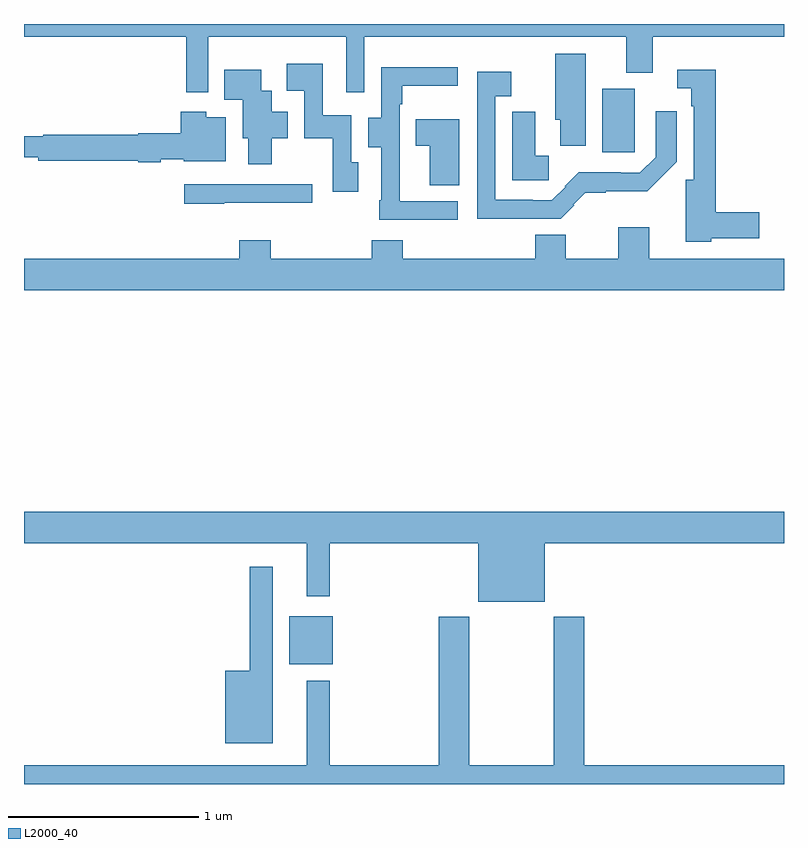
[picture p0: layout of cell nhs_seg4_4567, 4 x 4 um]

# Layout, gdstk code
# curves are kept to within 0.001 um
import gdstk
lib = gdstk.Library(unit=1e-6, precision=1e-09)
def R(c, l, rs):  # rectangles x0, y0, x1, y1
    for r in rs: c.add(gdstk.rectangle(r[:2], r[2:], *l))
def P(c, l, *ps):  # polygons
    for p in ps: c.add(gdstk.Polygon(p, *l))
L2000_40 = (2000, 40)

nhs_seg4_4567 = lib.new_cell('nhs_seg4_4567')
R(nhs_seg4_4567, L2000_40, [(358.397,781.529,358.624,781.783), (360.044,784.224,360.214,784.558)])
P(nhs_seg4_4567, L2000_40, [(357.969,784.832),(358.695,784.832),(358.695,784.542),(358.791,784.542),(358.791,784.832),(360.17,784.832),(360.17,784.643),(360.31,784.643),(360.31,784.832),(361,784.832),(361,784.9),(357,784.9),(357,784.832),(357.853,784.832),(357.853,784.542),(357.969,784.542)],
  [(359.956,784.744),(359.795,784.744),(359.795,784.395),(359.822,784.395),(359.822,784.26),(359.956,784.26)],
  [(358.759,784.173),(358.722,784.173),(358.722,784.42),(358.572,784.42),(358.572,784.69),(358.384,784.69),(358.384,784.55),(358.476,784.55),(358.476,784.298),(358.624,784.298),(358.624,784.017),(358.759,784.017)],
  [(359.284,783.966),(358.978,783.966),(358.978,784.163),(358.977,784.163),(358.977,784.478),(358.99,784.478),(358.99,784.574),(359.284,784.574),(359.284,784.672),(358.881,784.672),(358.881,784.407),(358.811,784.407),(358.811,784.252),(358.881,784.252),(358.881,783.973),(358.869,783.973),(358.869,783.87),(359.284,783.87)],
  [(360.618,783.773),(360.871,783.773),(360.871,783.908),(360.641,783.908),(360.641,784.66),(360.438,784.66),(360.438,784.563),(360.513,784.563),(360.513,784.466),(360.525,784.466),(360.525,784.08),(360.482,784.08),(360.482,783.755),(360.618,783.755)],
  [(358.303,784.298),(358.387,784.298),(358.387,784.438),(358.303,784.438),(358.303,784.549),(358.248,784.549),(358.248,784.66),(358.054,784.66),(358.054,784.502),(358.151,784.502),(358.151,784.298),(358.181,784.298),(358.181,784.161),(358.303,784.161)],
  [(359.895,783.945),(359.891,783.949),(359.953,784.011),(360.061,784.011),(360.061,784.019),(360.281,784.019),(360.436,784.176),(360.436,784.441),(360.324,784.441),(360.324,784.2),(360.24,784.116),(360.14,784.116),(360.14,784.121),(359.921,784.121),(359.847,784.047),(359.85,784.044),(359.778,783.972),(359.678,783.972),(359.678,783.976),(359.481,783.976),(359.481,784.52),(359.564,784.52),(359.564,784.648),(359.385,784.648),(359.385,783.875),(359.825,783.875)],
  [(359.761,784.207),(359.692,784.207),(359.692,784.439),(359.57,784.439),(359.57,784.078),(359.761,784.078)],
  [(357.72,784.187),(357.84,784.187),(357.84,784.178),(358.063,784.178),(358.063,784.408),(357.958,784.408),(357.958,784.438),(357.824,784.438),(357.824,784.324),(357.6,784.324),(357.6,784.316),(357.1,784.316),(357.1,784.309),(357,784.309),(357,784.199),(357.076,784.199),(357.076,784.18),(357.6,784.18),(357.6,784.172),(357.72,784.172)],
  [(359.29,784.399),(359.062,784.399),(359.062,784.259),(359.135,784.259),(359.135,784.051),(359.29,784.051)],
  [(358.055,783.959),(358.516,783.959),(358.516,784.056),(357.843,784.056),(357.843,783.955),(358.055,783.955)],
  [(361,783.664),(360.292,783.664),(360.292,783.829),(360.128,783.829),(360.128,783.664),(359.851,783.664),(359.851,783.79),(359.69,783.79),(359.69,783.664),(358.994,783.664),(358.994,783.763),(358.829,783.763),(358.829,783.664),(358.298,783.664),(358.298,783.763),(358.133,783.763),(358.133,783.664),(357,783.664),(357,783.5),(361,783.5)],
  [(359.74,782.168),(361,782.168),(361,782.332),(357,782.332),(357,782.168),(358.487,782.168),(358.487,781.887),(358.609,781.887),(358.609,782.168),(359.39,782.168),(359.39,781.859),(359.74,781.859)],
  [(358.309,782.044),(358.188,782.044),(358.188,781.495),(358.058,781.495),(358.058,781.115),(358.309,781.115)],
  [(361,781),(359.948,781),(359.948,781.78),(359.788,781.78),(359.788,781),(359.343,781),(359.343,781.78),(359.183,781.78),(359.183,781),(358.609,781),(358.609,781.444),(358.487,781.444),(358.487,781),(357,781),(357,780.9),(361,780.9)])

lib.write_gds('nhs_seg4_4567.gds')
